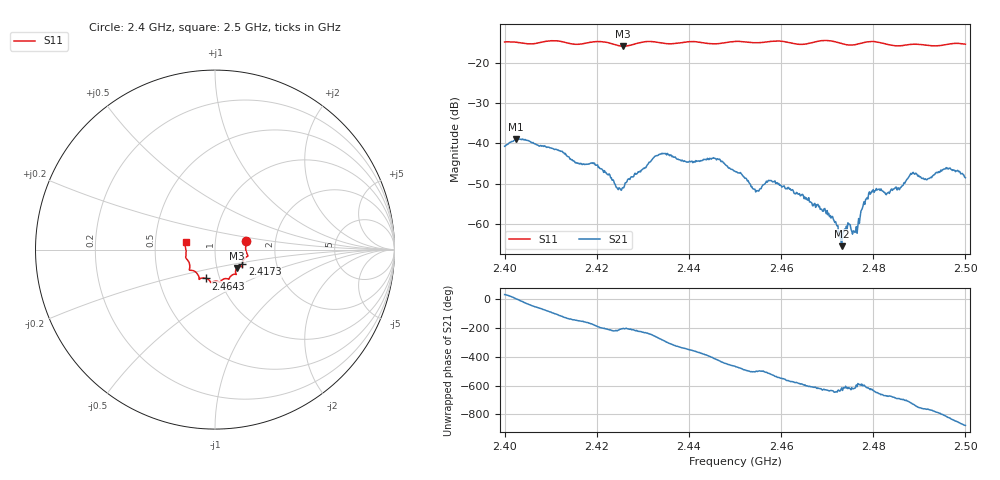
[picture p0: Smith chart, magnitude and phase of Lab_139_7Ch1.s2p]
# Hz S RI R 50
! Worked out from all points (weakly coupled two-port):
!   601 points, 2.4 GHz to 2.5 GHz, reference 50 ohm
!   highest |S21| = -38.89 dB at 2.4025 GHz (marker M1); lowest = -65.4 dB at 2.4732 GHz (marker M2)
!   lowest |S11| = -15.9 dB at 2.4257 GHz (marker M3), VSWR 1.38, Z = 62.5 - j13.1 ohm
!   |S11| at or under -10 dB: start of sweep to end of sweep
!   S12 and S22 are empty: the file has one direction only
!   S11 on the Smith chart (normalised r, x): 2.4 GHz: 1.41, +0.14; 2.4173 GHz: 1.34, -0.23; 2.4643 GHz: 0.86, -0.28; 2.5 GHz: 0.72, +0.06
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2.4e9  0.1732 0.0485  0.00772 0.00507  0 0  0 0
2.4025e9  0.1752 0.0378  0.0113 0.000707  0 0  0 0
2.416667e9  0.1529 -0.0747  -0.00493 -0.00266  0 0  0 0
2.417333e9  0.1519 -0.0822  -0.00505 -0.00216  0 0  0 0
2.425667e9  0.1227 -0.1024  -0.00261 0.00113  0 0  0 0
2.433333e9  0.1129 -0.1371  -9.04e-05 0.00716  0 0  0 0
2.445833e9  0.0484 -0.164  0.00356 -0.00542  0 0  0 0
2.45e9  0.0289 -0.1809  -0.00122 -0.00436  0 0  0 0
2.454667e9  0.00466 -0.176  -0.002 -0.00168  0 0  0 0
2.457667e9  -0.0176 -0.1819  -0.00325 -0.00124  0 0  0 0
2.464333e9  -0.05 -0.1605  -0.00152 0.00169  0 0  0 0
2.466667e9  -0.076 -0.1592  -0.000653 0.00172  0 0  0 0
2.470833e9  -0.0877 -0.1635  8.11e-05 0.0012  0 0  0 0
2.473167e9  -0.0922 -0.1451  -0.000133 0.00052  0 0  0 0
2.4745e9  -0.1017 -0.1309  -0.000153 0.00103  0 0  0 0
2.476167e9  -0.118 -0.1187  -0.000233 0.00077  0 0  0 0
2.4795e9  -0.1424 -0.114  -0.000287 0.00242  0 0  0 0
2.483333e9  -0.1405 -0.0899  0.00175 0.00178  0 0  0 0
2.488667e9  -0.1622 -0.0471  0.00432 -0.000807  0 0  0 0
2.4915e9  -0.1617 -0.0303  0.00252 -0.00251  0 0  0 0
2.496333e9  -0.1679 0.0224  -0.00111 -0.00471  0 0  0 0
2.5e9  -0.1638 0.0422  -0.00349 -0.00142  0 0  0 0
